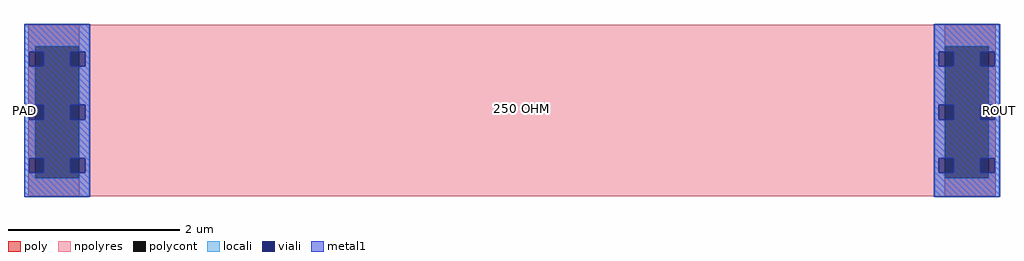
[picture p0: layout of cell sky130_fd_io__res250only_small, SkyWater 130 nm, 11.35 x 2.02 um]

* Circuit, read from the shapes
.subckt sky130_fd_io__res250only_small PAD ROUT
R1 ROUT PAD sky130_fd_pr__res_generic_po w=2 l=10.07
.ends

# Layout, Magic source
magic
tech sky130A
magscale 1 2
<< metal1 >>
rect 0 1 2 403
rect 2268 1 2270 403
use sky130_fd_io__res250_sub_small  sky130_fd_io__res250_sub_small_0
transform 1 0 0 0 1 0
box 0 0 2270 404
<< labels >>
flabel comment s 1156 206 1156 206 0 FreeSans 400 0 0 0 250 OHM
flabel metal1 s 0 1 2 403 0 FreeSans 200 0 0 0 PAD
port 1 nsew
flabel metal1 s 2268 1 2270 403 0 FreeSans 400 0 0 0 ROUT
port 2 nsew
<< properties >>
string GDS_FILE $PDKPATH/libs.ref/sky130_fd_io/gds/sky130_fd_io.gds
string GDS_END 3225058
string GDS_START 3224036
<< end >>

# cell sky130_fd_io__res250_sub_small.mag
magic
tech sky130A
magscale 1 2
<< poly >>
rect 10 351 128 402
rect 10 45 26 351
rect 10 2 128 45
rect 2142 351 2260 402
rect 2244 45 2260 351
rect 2142 2 2260 45
<< polycont >>
rect 26 45 128 351
rect 2142 45 2244 351
<< npolyres >>
rect 128 2 2142 402
<< locali >>
rect 2 351 152 404
rect 2 339 26 351
rect 128 339 152 351
rect 2 305 12 339
rect 142 305 152 339
rect 2 215 26 305
rect 128 215 152 305
rect 2 181 12 215
rect 142 181 152 215
rect 2 91 26 181
rect 128 91 152 181
rect 2 57 12 91
rect 142 57 152 91
rect 2 45 26 57
rect 128 45 152 57
rect 2 0 152 45
rect 2118 351 2268 404
rect 2118 339 2142 351
rect 2244 339 2268 351
rect 2118 305 2128 339
rect 2258 305 2268 339
rect 2118 215 2142 305
rect 2244 215 2268 305
rect 2118 181 2128 215
rect 2258 181 2268 215
rect 2118 91 2142 181
rect 2244 91 2268 181
rect 2118 57 2128 91
rect 2258 57 2268 91
rect 2118 45 2142 57
rect 2244 45 2268 57
rect 2118 0 2268 45
<< viali >>
rect 12 305 26 339
rect 26 305 46 339
rect 108 305 128 339
rect 128 305 142 339
rect 12 181 26 215
rect 26 181 46 215
rect 108 181 128 215
rect 128 181 142 215
rect 12 57 26 91
rect 26 57 46 91
rect 108 57 128 91
rect 128 57 142 91
rect 2128 305 2142 339
rect 2142 305 2162 339
rect 2224 305 2244 339
rect 2244 305 2258 339
rect 2128 181 2142 215
rect 2142 181 2162 215
rect 2224 181 2244 215
rect 2244 181 2258 215
rect 2128 57 2142 91
rect 2142 57 2162 91
rect 2224 57 2244 91
rect 2244 57 2258 91
<< metal1 >>
rect 0 339 154 403
rect 0 305 12 339
rect 46 305 108 339
rect 142 305 154 339
rect 0 215 154 305
rect 0 181 12 215
rect 46 181 108 215
rect 142 181 154 215
rect 0 91 154 181
rect 0 57 12 91
rect 46 57 108 91
rect 142 57 154 91
rect 0 1 154 57
rect 2116 339 2270 403
rect 2116 305 2128 339
rect 2162 305 2224 339
rect 2258 305 2270 339
rect 2116 215 2270 305
rect 2116 181 2128 215
rect 2162 181 2224 215
rect 2258 181 2270 215
rect 2116 91 2270 181
rect 2116 57 2128 91
rect 2162 57 2224 91
rect 2258 57 2270 91
rect 2116 1 2270 57
<< properties >>
string GDS_FILE $PDKPATH/libs.ref/sky130_fd_io/gds/sky130_fd_io.gds
string GDS_END 3223974
string GDS_START 3221026
<< end >>
